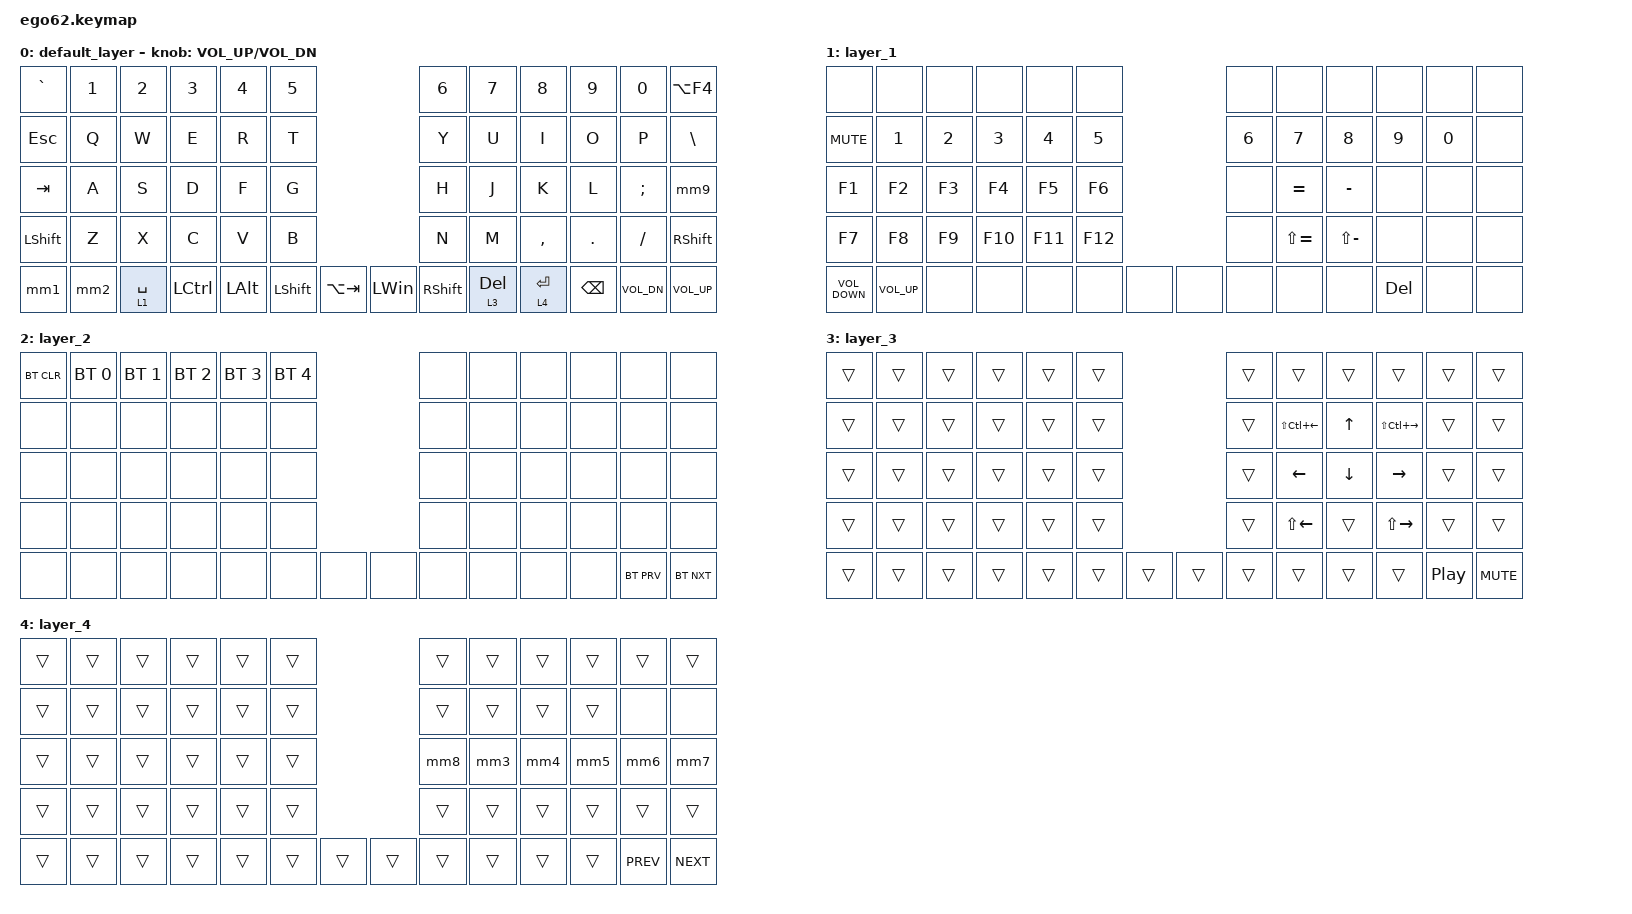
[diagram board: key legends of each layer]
/*
 * Copyright (c) 2020 The ZMK Contributors
 *
 * SPDX-License-Identifier: MIT
 */

#include <behaviors.dtsi>
#include <dt-bindings/zmk/bt.h>
#include <dt-bindings/zmk/keys.h>

/ {
    macros {
        mm1: new_macro {
            compatible = "zmk,behavior-macro";
            #binding-cells = <0>;
            bindings = <&kp HOME &kp LS(END) &kp LC(C)>;
            label = "NEW_MACRO";
        };

        mm2: mm2 {
            compatible = "zmk,behavior-macro";
            #binding-cells = <0>;
            bindings = <&kp END &kp ENTER &kp LC(V)>;
            label = "MM2";
        };

        mm3: mm3 {
            compatible = "zmk,behavior-macro";
            #binding-cells = <0>;
            bindings = <&kp LS(NUMBER_9) &kp LS(NUMBER_0) &kp LEFT>;
            label = "MM3";
        };

        mm4: mm4 {
            compatible = "zmk,behavior-macro";
            #binding-cells = <0>;
            bindings = <&kp LS(LEFT_BRACKET) &kp LS(RIGHT_BRACKET) &kp LEFT_ARROW>;
            label = "MM4";
        };

        mm5: mm5 {
            compatible = "zmk,behavior-macro";
            #binding-cells = <0>;
            bindings = <&kp LEFT_BRACKET &kp RIGHT_BRACKET &kp LEFT>;
            label = "MM5";
        };

        mm6: mm6 {
            compatible = "zmk,behavior-macro";
            #binding-cells = <0>;
            bindings = <&kp LS(SQT) &kp LS(SQT) &kp LEFT>;
            label = "MM6";
        };

        mm7: mm7 {
            compatible = "zmk,behavior-macro";
            #binding-cells = <0>;
            bindings = <&kp SQT &kp SQT &kp LEFT>;
            label = "MM7";
        };

        mm8: mm8 {
            compatible = "zmk,behavior-macro";
            #binding-cells = <0>;
            bindings = <&kp HOME &kp LS(END)>;
            label = "MM8";
        };

        mm9: mm9 {
            compatible = "zmk,behavior-macro";
            #binding-cells = <0>;
            bindings = <&kp END &kp ENTER>;
            label = "MM9";
        };
    };

    keymap {
        compatible = "zmk,keymap";

        default_layer {
            bindings = <
&kp GRAVE  &kp N1  &kp N2       &kp N3     &kp N4        &kp N5                                     &kp N6           &kp N7        &kp N8        &kp N9         &kp N0         &kp LA(F4)
&kp ESC    &kp Q   &kp W        &kp E      &kp R         &kp T                                      &kp Y            &kp U         &kp I         &kp O          &kp P          &kp BACKSLASH
&kp TAB    &kp A   &kp S        &kp D      &kp F         &kp G                                      &kp H            &kp J         &kp K         &kp L          &kp SEMICOLON  &mm9
&kp LSHFT  &kp Z   &kp X        &kp C      &kp V         &kp B                                      &kp N            &kp M         &kp COMMA     &kp DOT        &kp FSLH       &kp RSHIFT
&mm1       &mm2    &lt 1 SPACE  &kp LCTRL  &kp LEFT_ALT  &kp LEFT_SHIFT  &kp LA(TAB)  &kp LEFT_WIN  &kp RIGHT_SHIFT  &lt 3 DELETE  &lt 4 RETURN  &kp BACKSPACE  &kp C_VOL_DN   &kp C_VOL_UP
            >;

            sensor-bindings = <&inc_dec_kp C_VOL_UP C_VOL_DN>;
        };

        layer_1 {
            bindings = <
&none              &none         &none         &none         &none         &none                       &none         &none          &none          &none         &none         &none
&kp C_MUTE         &kp NUMBER_1  &kp NUMBER_2  &kp NUMBER_3  &kp NUMBER_4  &kp NUMBER_5                &kp NUMBER_6  &kp NUMBER_7   &kp NUMBER_8   &kp NUMBER_9  &kp NUMBER_0  &none
&kp F1             &kp F2        &kp F3        &kp F4        &kp F5        &kp F6                      &none         &kp EQUAL      &kp MINUS      &none         &none         &none
&kp F7             &kp F8        &kp F9        &kp F10       &kp F11       &kp F12                     &none         &kp LS(EQUAL)  &kp LS(MINUS)  &none         &none         &none
&kp C_VOLUME_DOWN  &kp C_VOL_UP  &none         &none         &none         &none         &none  &none  &none         &none          &none          &kp DEL       &none         &none
            >;
        };

        layer_2 {
            bindings = <
&bt BT_CLR  &bt BT_SEL 0  &bt BT_SEL 1  &bt BT_SEL 2  &bt BT_SEL 3  &bt BT_SEL 4                &none  &none  &none  &none  &none       &none
&none       &none         &none         &none         &none         &none                       &none  &none  &none  &none  &none       &none
&none       &none         &none         &none         &none         &none                       &none  &none  &none  &none  &none       &none
&none       &none         &none         &none         &none         &none                       &none  &none  &none  &none  &none       &none
&none       &none         &none         &none         &none         &none         &none  &none  &none  &none  &none  &none  &bt BT_PRV  &bt BT_NXT
            >;
        };

        layer_3 {
            bindings = <
&trans  &trans  &trans  &trans  &trans  &trans                  &trans  &trans            &trans    &trans             &trans            &trans
&trans  &trans  &trans  &trans  &trans  &trans                  &trans  &kp LS(LC(LEFT))  &kp UP    &kp LS(LC(RIGHT))  &trans            &trans
&trans  &trans  &trans  &trans  &trans  &trans                  &trans  &kp LEFT          &kp DOWN  &kp RIGHT          &trans            &trans
&trans  &trans  &trans  &trans  &trans  &trans                  &trans  &kp LS(LEFT)      &trans    &kp LS(RIGHT)      &trans            &trans
&trans  &trans  &trans  &trans  &trans  &trans  &trans  &trans  &trans  &trans            &trans    &trans             &kp C_PLAY_PAUSE  &kp C_MUTE
            >;
        };

        layer_4 {
            bindings = <
&trans  &trans  &trans  &trans  &trans  &trans                  &trans  &trans  &trans  &trans  &trans      &trans
&trans  &trans  &trans  &trans  &trans  &trans                  &trans  &trans  &trans  &trans  &none       &none
&trans  &trans  &trans  &trans  &trans  &trans                  &mm8    &mm3    &mm4    &mm5    &mm6        &mm7
&trans  &trans  &trans  &trans  &trans  &trans                  &trans  &trans  &trans  &trans  &trans      &trans
&trans  &trans  &trans  &trans  &trans  &trans  &trans  &trans  &trans  &trans  &trans  &trans  &kp C_PREV  &kp C_NEXT
            >;
        };
    };
};
